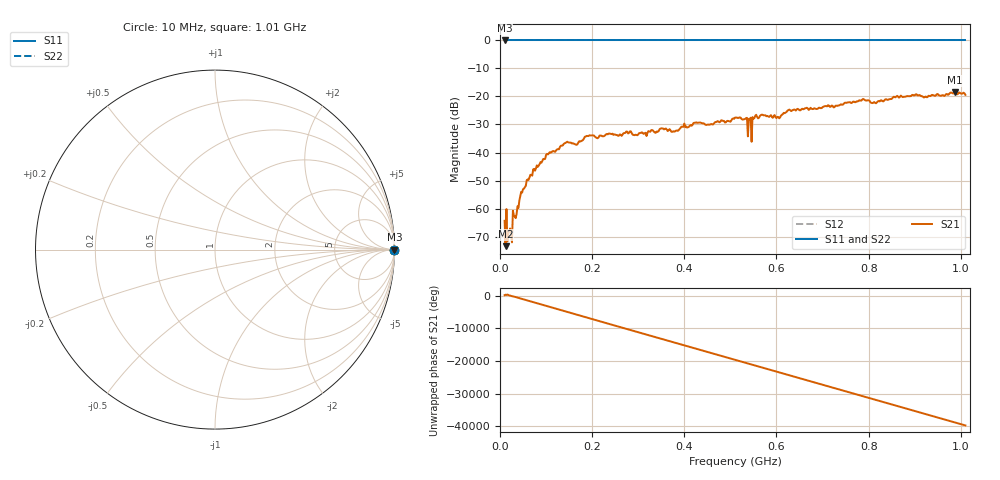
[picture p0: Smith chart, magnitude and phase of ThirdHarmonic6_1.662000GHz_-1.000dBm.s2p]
! 8/16/2025 7:55:10 PM
! C:\ANRITSUVNA\TEMP\TEMP.S2P
! CHANNEL.1
! TR.MEASUREMENT
! RAW.DATA
! RF.CORRECTION.OFF
! AVERAGING.OFF
! IF.BANDWIDTH: 5KHZ
! SWEEPTYPE:  FREQ.SWEEP(Linear)
! Reference Plane Port Info
! PORT:  PORT1  PORT2
! DISTANCE:  0  m  0  m
! TIME:  0  s  0  s
! PHASE.OFFSET:  0  deg.  0  deg.
! LOSS:  0  dB  0  dB
! REF.LOSS:  0  dB  0  dB
! REF.FREQ:  0  Hz  0  Hz
! Power Info
! POWER:  -20  dBm  -20  dBm
! EFF.POWER:  -20  dBm  -20  dBm
! SOURCE.ATTEN:  0  dB  0  dB
! TEST.ATTEN:  0  dB  0  dB
# GHZ S RI R 50.0
! FREQ.GHZ  S11RE  S11IM  S21RE  S21IM  S12RE  S12IM  S22RE  S22IM
!; PortSelection: Port_12
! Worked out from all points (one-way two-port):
!   501 points, 10 MHz to 1.01 GHz, reference 50 ohm
!   highest |S21| = -18.47 dB at 988 MHz (marker M1); lowest = -73.4 dB at 12 MHz (marker M2)
!   lowest |S11| = 0.0 dB at 10 MHz (marker M3)
!   |S11| at or under -10 dB: nowhere
!   |S22| runs from 0.0 to 0.0 dB; largest |S21 - S12| = 1.1
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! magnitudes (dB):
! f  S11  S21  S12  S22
! 10 MHz  0.0  -64.4  0.0  0.0
! 12 MHz  0.0  -73.4  0.0  0.0
! 22 MHz  0.0  -67.1  0.0  0.0
! 48 MHz  0.0  -54.3  0.0  0.0
! 76 MHz  0.0  -46.5  0.0  0.0
! 104 MHz  0.0  -40.7  0.0  0.0
! 142 MHz  0.0  -36.6  0.0  0.0
! 178 MHz  0.0  -35.8  0.0  0.0
! 192 MHz  0.0  -34.1  0.0  0.0
! 344 MHz  0.0  -32.4  0.0  0.0
! 376 MHz  0.0  -32.4  0.0  0.0
! 424 MHz  0.0  -29.3  0.0  0.0
! 510 MHz  0.0  -27.5  0.0  0.0
! 532 MHz  0.0  -28.0  0.0  0.0
! 542 MHz  0.0  -28.3  0.0  0.0
! 552 MHz  0.0  -27.7  0.0  0.0
! 604 MHz  0.0  -27.3  0.0  0.0
! 626 MHz  0.0  -24.9  0.0  0.0
! 678 MHz  0.0  -24.5  0.0  0.0
! 844 MHz  0.0  -21.0  0.0  0.0
! 988 MHz  0.0  -18.5  0.0  0.0
! 1.01 GHz  0.0  -19.4  0.0  0.0
